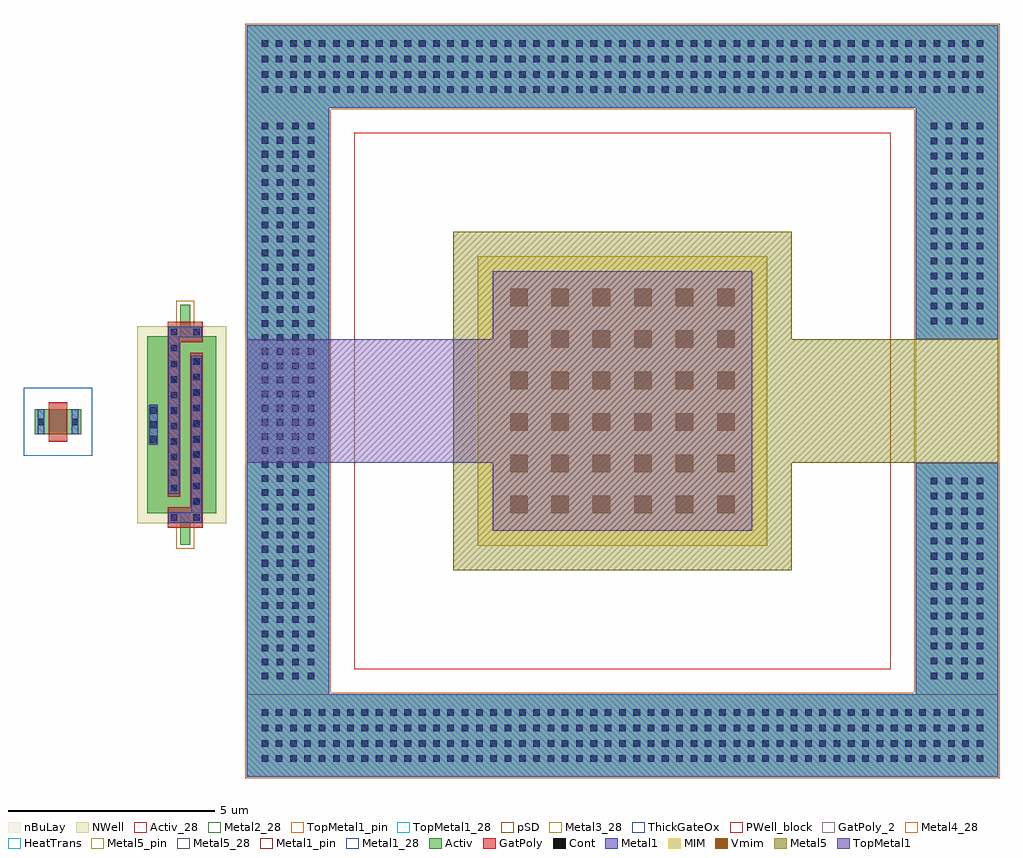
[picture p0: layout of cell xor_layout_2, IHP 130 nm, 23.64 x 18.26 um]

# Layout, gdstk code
import gdstk
lib = gdstk.Library(unit=1e-6, precision=1e-09)
def R(c, l, rs):  # rectangles x0, y0, x1, y1
    for r in rs: c.add(gdstk.rectangle(r[:2], r[2:], *l))
def A(c, l, x, y, w, h, nx, ny, dx, dy):  # array of equal rectangles
    R(c, l, [(x+i*dx, y+j*dy, x+i*dx+w, y+j*dy+h) for i in range(nx) for j in range(ny)])
def P(c, l, *ps):  # polygons
    for p in ps: c.add(gdstk.Polygon(p, *l))
Activ = (1, 0)
Activ_28 = (1, 28)
GatPoly = (5, 0)
GatPoly_2 = (5, 2)
Cont = (6, 0)
Metal1 = (8, 0)
Metal1_pin = (8, 2)
Metal1_28 = (8, 28)
Metal2_28 = (10, 28)
pSD = (14, 0)
Metal3_28 = (30, 28)
NWell = (31, 0)
nBuLay = (32, 0)
MIM = (36, 0)
ThickGateOx = (44, 0)
PWell_block = (46, 21)
Metal4_28 = (50, 28)
HeatTrans = (51, 0)
Metal5 = (67, 0)
Metal5_pin = (67, 2)
Metal5_28 = (67, 28)
TopMetal1 = (126, 0)
TopMetal1_pin = (126, 2)
TopMetal1_28 = (126, 28)
Vmim = (129, 0)

svaricap = lib.new_cell('SVaricap')
R(svaricap, Activ, [(1.035,-0.52,1.275,0.24), (0.24,0.24,1.91,4.53), (1.035,4.53,1.275,5.29)])
R(svaricap, GatPoly, [(0.73,-0.11,1.58,0.39), (1.28,0.39,1.58,4.13), (0.73,0.64,1.03,4.38), (0.73,4.38,1.58,4.88)])
A(svaricap, Cont, 1.35, 0.45, 0.16, 0.16, 1, 3, 0, 0.375)
A(svaricap, Cont, 0.8, 0.77, 0.16, 0.16, 1, 3, 0, 0.375)
A(svaricap, Cont, 1.35, 1.58, 0.16, 0.16, 1, 3, 0, 0.375)
A(svaricap, Cont, 0.8, 1.9, 0.16, 0.16, 1, 3, 0, 0.375)
A(svaricap, Cont, 0.31, 1.955, 0.16, 0.16, 1, 3, 0, 0.35)
A(svaricap, Cont, 1.35, 2.71, 0.16, 0.16, 1, 3, 0, 0.375)
A(svaricap, Cont, 0.8, 3.03, 0.16, 0.16, 1, 3, 0, 0.375)
R(svaricap, Cont, [(0.8,0.06,0.96,0.22), (1.35,0.06,1.51,0.22), (1.35,3.84,1.51,4), (0.8,4.16,0.96,4.32), (0.8,4.55,0.96,4.71), (1.35,4.55,1.51,4.71)])
R(svaricap, Metal1, [(0.75,0.01,1.56,0.27), (1.3,0.27,1.56,0.4), (1.3,0.4,1.56,4.05), (0.75,0.72,1.01,4.37), (0.29,1.905,0.49,2.865), (0.75,4.37,1.01,4.5), (0.75,4.5,1.56,4.76)])
R(svaricap, Metal1_pin, [(0.75,0.01,1.56,0.27), (0.29,1.915,0.49,2.855), (0.75,4.5,1.56,4.76)])
R(svaricap, pSD, [(0.935,-0.62,1.375,0.14), (0.935,4.63,1.375,5.39)])
R(svaricap, NWell, [(0,0,2.15,4.77)])
R(svaricap, nBuLay, [(0.24,0.24,1.91,4.53)])
svaricap.add(gdstk.Label('SVaricap', (0.24,0.59), layer=63, texttype=0))

nmoshv = lib.new_cell('nmosHV')
R(nmoshv, Activ, [(0,0,0.3,0.3), (0,0,1.13,0.6), (0.83,0,1.13,0.3)])
R(nmoshv, GatPoly, [(0.34,-0.18,0.79,0.78)])
R(nmoshv, GatPoly_2, [(0.34,-0.18,0.79,0.78)])
R(nmoshv, Cont, [(0.07,0.22,0.23,0.38), (0.9,0.22,1.06,0.38)])
R(nmoshv, Metal1, [(0.07,0,0.23,0.6), (0.9,0,1.06,0.6)])
R(nmoshv, Metal1_pin, [(0.07,0,0.23,0.6), (0.9,0,1.06,0.6)])
R(nmoshv, ThickGateOx, [(-0.27,-0.52,1.4,1.12)])
R(nmoshv, HeatTrans, [(0.34,-0.18,0.79,0.78)])
nmoshv.add(gdstk.Label('nmosHV', (0.565,0.3), layer=63, texttype=0))
nmoshv.add(gdstk.Label('nmosHV', (0.565,0.3), layer=51, texttype=0))

rfcmim = lib.new_cell('rfcmim')
P(rfcmim, Activ, [(-5.6,-5.6),(-5.6,12.6),(12.6,12.6),(12.6,5),(10.6,5),(10.6,10.6),(-3.6,10.6),(-3.6,-3.6),(10.6,-3.6),(10.6,2),(12.6,2),(12.6,-5.6)])
R(rfcmim, Activ_28, [(-5.6,-5.6,12.6,12.6)])
A(rfcmim, Cont, -5.24, -5.24, 0.16, 0.16, 4, 2, 0.345, 0.37)
A(rfcmim, Cont, -3.855, -5.24, 0.16, 0.16, 4, 2, 0.345, 0.37)
A(rfcmim, Cont, -2.47, -5.24, 0.16, 0.16, 3, 2, 0.345, 0.37)
A(rfcmim, Cont, -1.43, -5.24, 0.16, 0.16, 4, 2, 0.345, 0.37)
A(rfcmim, Cont, -0.045, -5.24, 0.16, 0.16, 3, 2, 0.345, 0.37)
A(rfcmim, Cont, 0.995, -5.24, 0.16, 0.16, 4, 2, 0.345, 0.37)
A(rfcmim, Cont, 2.38, -5.24, 0.16, 0.16, 3, 2, 0.345, 0.37)
A(rfcmim, Cont, 3.42, -5.24, 0.16, 0.16, 4, 2, 0.345, 0.37)
A(rfcmim, Cont, 4.805, -5.24, 0.16, 0.16, 4, 2, 0.345, 0.37)
A(rfcmim, Cont, 6.19, -5.24, 0.16, 0.16, 3, 2, 0.345, 0.37)
A(rfcmim, Cont, 7.23, -5.24, 0.16, 0.16, 4, 2, 0.345, 0.37)
A(rfcmim, Cont, 8.615, -5.24, 0.16, 0.16, 3, 2, 0.345, 0.37)
A(rfcmim, Cont, 9.655, -5.24, 0.16, 0.16, 4, 2, 0.345, 0.37)
A(rfcmim, Cont, 11.04, -5.24, 0.16, 0.16, 3, 2, 0.345, 0.37)
A(rfcmim, Cont, 12.08, -4.87, 0.16, 0.16, 1, 3, 0, 0.375)
A(rfcmim, Cont, -5.24, -4.495, 0.16, 0.16, 4, 2, 0.345, 0.375)
A(rfcmim, Cont, -3.855, -4.495, 0.16, 0.16, 4, 2, 0.345, 0.375)
A(rfcmim, Cont, -2.47, -4.495, 0.16, 0.16, 3, 2, 0.345, 0.375)
A(rfcmim, Cont, -1.43, -4.495, 0.16, 0.16, 4, 2, 0.345, 0.375)
A(rfcmim, Cont, -0.045, -4.495, 0.16, 0.16, 3, 2, 0.345, 0.375)
A(rfcmim, Cont, 0.995, -4.495, 0.16, 0.16, 4, 2, 0.345, 0.375)
A(rfcmim, Cont, 2.38, -4.495, 0.16, 0.16, 3, 2, 0.345, 0.375)
A(rfcmim, Cont, 3.42, -4.495, 0.16, 0.16, 4, 2, 0.345, 0.375)
A(rfcmim, Cont, 4.805, -4.495, 0.16, 0.16, 4, 2, 0.345, 0.375)
A(rfcmim, Cont, 6.19, -4.495, 0.16, 0.16, 3, 2, 0.345, 0.375)
A(rfcmim, Cont, 7.23, -4.495, 0.16, 0.16, 4, 2, 0.345, 0.375)
A(rfcmim, Cont, 8.615, -4.495, 0.16, 0.16, 3, 2, 0.345, 0.375)
A(rfcmim, Cont, 9.655, -4.495, 0.16, 0.16, 4, 2, 0.345, 0.375)
A(rfcmim, Cont, 11.04, -4.495, 0.16, 0.16, 3, 2, 0.345, 0.375)
A(rfcmim, Cont, -5.24, -3.24, 0.16, 0.16, 1, 4, 0, 0.34)
A(rfcmim, Cont, -4.87, -3.24, 0.16, 0.16, 3, 4, 0.375, 0.34)
A(rfcmim, Cont, 11.33, -3.24, 0.16, 0.16, 3, 2, 0.375, 0.36)
A(rfcmim, Cont, 11.33, -2.515, 0.16, 0.16, 3, 2, 0.375, 0.36)
A(rfcmim, Cont, 10.96, -2.155, 0.16, 0.16, 1, 3, 0, 0.365)
A(rfcmim, Cont, -5.24, -1.875, 0.16, 0.16, 1, 3, 0, 0.34)
A(rfcmim, Cont, -4.87, -1.875, 0.16, 0.16, 3, 3, 0.375, 0.34)
A(rfcmim, Cont, 11.33, -1.79, 0.16, 0.16, 3, 2, 0.375, 0.365)
A(rfcmim, Cont, 11.33, -1.065, 0.16, 0.16, 3, 2, 0.375, 0.365)
A(rfcmim, Cont, -5.24, -0.85, 0.16, 0.16, 1, 3, 0, 0.34)
A(rfcmim, Cont, -4.87, -0.85, 0.16, 0.16, 3, 3, 0.375, 0.34)
A(rfcmim, Cont, 10.96, -0.34, 0.16, 0.16, 1, 3, 0, 0.365)
A(rfcmim, Cont, 11.33, -0.34, 0.16, 0.16, 3, 3, 0.375, 0.365)
A(rfcmim, Cont, -5.24, 0.175, 0.16, 0.16, 1, 3, 0, 0.34)
A(rfcmim, Cont, -4.87, 0.175, 0.16, 0.16, 3, 3, 0.375, 0.34)
A(rfcmim, Cont, 10.96, 0.75, 0.16, 0.16, 1, 3, 0, 0.365)
A(rfcmim, Cont, 11.33, 0.75, 0.16, 0.16, 3, 3, 0.375, 0.365)
A(rfcmim, Cont, -5.24, 1.2, 0.16, 0.16, 1, 4, 0, 0.34)
A(rfcmim, Cont, -4.87, 1.2, 0.16, 0.16, 3, 4, 0.375, 0.34)
A(rfcmim, Cont, -5.24, 2.565, 0.16, 0.16, 1, 3, 0, 0.34)
A(rfcmim, Cont, -4.87, 2.565, 0.16, 0.16, 3, 3, 0.375, 0.34)
A(rfcmim, Cont, -5.24, 3.59, 0.16, 0.16, 1, 3, 0, 0.34)
A(rfcmim, Cont, -4.87, 3.59, 0.16, 0.16, 3, 3, 0.375, 0.34)
A(rfcmim, Cont, -5.24, 4.615, 0.16, 0.16, 1, 3, 0, 0.34)
A(rfcmim, Cont, -4.87, 4.615, 0.16, 0.16, 3, 3, 0.375, 0.34)
A(rfcmim, Cont, 11.33, 5.36, 0.16, 0.16, 3, 2, 0.375, 0.36)
A(rfcmim, Cont, -5.24, 5.64, 0.16, 0.16, 1, 4, 0, 0.34)
A(rfcmim, Cont, -4.87, 5.64, 0.16, 0.16, 3, 4, 0.375, 0.34)
A(rfcmim, Cont, 11.33, 6.085, 0.16, 0.16, 3, 2, 0.375, 0.36)
A(rfcmim, Cont, 10.96, 6.445, 0.16, 0.16, 1, 3, 0, 0.365)
A(rfcmim, Cont, 11.33, 6.81, 0.16, 0.16, 3, 2, 0.375, 0.365)
A(rfcmim, Cont, -5.24, 7.005, 0.16, 0.16, 1, 3, 0, 0.34)
A(rfcmim, Cont, -4.87, 7.005, 0.16, 0.16, 3, 3, 0.375, 0.34)
A(rfcmim, Cont, 11.33, 7.535, 0.16, 0.16, 3, 2, 0.375, 0.365)
A(rfcmim, Cont, -5.24, 8.03, 0.16, 0.16, 1, 3, 0, 0.34)
A(rfcmim, Cont, -4.87, 8.03, 0.16, 0.16, 3, 3, 0.375, 0.34)
A(rfcmim, Cont, 10.96, 8.26, 0.16, 0.16, 1, 3, 0, 0.365)
A(rfcmim, Cont, 11.33, 8.26, 0.16, 0.16, 3, 3, 0.375, 0.365)
A(rfcmim, Cont, -5.24, 9.055, 0.16, 0.16, 1, 3, 0, 0.34)
A(rfcmim, Cont, -4.87, 9.055, 0.16, 0.16, 3, 3, 0.375, 0.34)
A(rfcmim, Cont, 10.96, 9.35, 0.16, 0.16, 1, 3, 0, 0.365)
A(rfcmim, Cont, 11.33, 9.35, 0.16, 0.16, 3, 3, 0.375, 0.365)
A(rfcmim, Cont, -4.87, 10.08, 0.16, 0.16, 3, 1, 0.375, 0)
A(rfcmim, Cont, -5.24, 10.96, 0.16, 0.16, 4, 2, 0.345, 0.37)
A(rfcmim, Cont, -3.855, 10.96, 0.16, 0.16, 4, 2, 0.345, 0.37)
A(rfcmim, Cont, -2.47, 10.96, 0.16, 0.16, 3, 2, 0.345, 0.37)
A(rfcmim, Cont, -1.43, 10.96, 0.16, 0.16, 4, 2, 0.345, 0.37)
A(rfcmim, Cont, -0.045, 10.96, 0.16, 0.16, 3, 2, 0.345, 0.37)
A(rfcmim, Cont, 0.995, 10.96, 0.16, 0.16, 4, 2, 0.345, 0.37)
A(rfcmim, Cont, 2.38, 10.96, 0.16, 0.16, 3, 2, 0.345, 0.37)
A(rfcmim, Cont, 3.42, 10.96, 0.16, 0.16, 4, 2, 0.345, 0.37)
A(rfcmim, Cont, 4.805, 10.96, 0.16, 0.16, 4, 2, 0.345, 0.37)
A(rfcmim, Cont, 6.19, 10.96, 0.16, 0.16, 3, 2, 0.345, 0.37)
A(rfcmim, Cont, 7.23, 10.96, 0.16, 0.16, 4, 2, 0.345, 0.37)
A(rfcmim, Cont, 8.615, 10.96, 0.16, 0.16, 3, 2, 0.345, 0.37)
A(rfcmim, Cont, 9.655, 10.96, 0.16, 0.16, 4, 2, 0.345, 0.37)
A(rfcmim, Cont, 11.04, 10.96, 0.16, 0.16, 3, 2, 0.345, 0.37)
A(rfcmim, Cont, 12.08, 11.33, 0.16, 0.16, 1, 3, 0, 0.375)
A(rfcmim, Cont, -5.24, 11.705, 0.16, 0.16, 4, 2, 0.345, 0.375)
A(rfcmim, Cont, -3.855, 11.705, 0.16, 0.16, 4, 2, 0.345, 0.375)
A(rfcmim, Cont, -2.47, 11.705, 0.16, 0.16, 3, 2, 0.345, 0.375)
A(rfcmim, Cont, -1.43, 11.705, 0.16, 0.16, 4, 2, 0.345, 0.375)
A(rfcmim, Cont, -0.045, 11.705, 0.16, 0.16, 3, 2, 0.345, 0.375)
A(rfcmim, Cont, 0.995, 11.705, 0.16, 0.16, 4, 2, 0.345, 0.375)
A(rfcmim, Cont, 2.38, 11.705, 0.16, 0.16, 3, 2, 0.345, 0.375)
A(rfcmim, Cont, 3.42, 11.705, 0.16, 0.16, 4, 2, 0.345, 0.375)
A(rfcmim, Cont, 4.805, 11.705, 0.16, 0.16, 4, 2, 0.345, 0.375)
A(rfcmim, Cont, 6.19, 11.705, 0.16, 0.16, 3, 2, 0.345, 0.375)
A(rfcmim, Cont, 7.23, 11.705, 0.16, 0.16, 4, 2, 0.345, 0.375)
A(rfcmim, Cont, 8.615, 11.705, 0.16, 0.16, 3, 2, 0.345, 0.375)
A(rfcmim, Cont, 9.655, 11.705, 0.16, 0.16, 4, 2, 0.345, 0.375)
A(rfcmim, Cont, 11.04, 11.705, 0.16, 0.16, 3, 2, 0.345, 0.375)
R(rfcmim, Cont, [(12.08,-5.24,12.24,-5.08), (10.96,-3.24,11.12,-3.08), (10.96,-2.88,11.12,-2.72), (10.96,-2.515,11.12,-2.355), (10.96,-1.065,11.12,-0.905), (10.96,-0.7,11.12,-0.54), (10.96,5.36,11.12,5.52), (10.96,5.72,11.12,5.88), (10.96,6.085,11.12,6.245), (10.96,7.535,11.12,7.695), (10.96,7.9,11.12,8.06), (-5.24,10.08,-5.08,10.24), (12.08,10.96,12.24,11.12)])
P(rfcmim, Metal1, [(-5.6,-5.6),(-5.6,12.6),(12.6,12.6),(12.6,5),(10.6,5),(10.6,10.6),(-3.6,10.6),(-3.6,-3.6),(10.6,-3.6),(10.6,2),(12.6,2),(12.6,-5.6)])
R(rfcmim, Metal1_pin, [(-5.6,-5.6,12.6,-3.6), (-5.6,-5.6,12.6,-3.6)])
R(rfcmim, Metal1_28, [(-5.6,-5.6,12.6,12.6)])
R(rfcmim, Metal2_28, [(-5.6,-5.6,12.6,12.6)])
P(rfcmim, pSD, [(-5.63,-5.63),(-5.63,10.57),(-3.57,10.57),(-3.57,-3.57),(10.57,-3.57),(10.57,10.57),(-5.63,10.57),(-5.63,12.63),(12.63,12.63),(12.63,-5.63)])
R(rfcmim, Metal3_28, [(-5.6,-5.6,12.6,12.6)])
R(rfcmim, MIM, [(0,0,7,7)])
R(rfcmim, PWell_block, [(-3,-3,10,10)])
R(rfcmim, Metal4_28, [(-5.6,-5.6,12.6,12.6)])
R(rfcmim, Metal5, [(-0.6,-0.6,7.6,7.6), (-0.6,-0.6,7.6,7.6), (7.6,2,12.6,5)])
R(rfcmim, Metal5_pin, [(10.6,2,12.6,5), (10.6,2,12.6,5)])
R(rfcmim, Metal5_28, [(-5.6,-5.6,12.6,12.6)])
R(rfcmim, TopMetal1, [(0.36,0.36,6.64,6.64), (-5.6,2,0.36,5)])
R(rfcmim, TopMetal1_pin, [(-5.6,2,-3.6,5), (-5.6,2,-3.6,5)])
R(rfcmim, TopMetal1_28, [(-5.6,-5.6,12.6,12.6)])
A(rfcmim, Vmim, 1.78, 0.78, 0.42, 0.42, 5, 2, 1.005, 1)
A(rfcmim, Vmim, 0.78, 1.78, 0.42, 0.42, 1, 5, 0, 1.005)
A(rfcmim, Vmim, 1.78, 2.785, 0.42, 0.42, 5, 4, 1.005, 1.005)
R(rfcmim, Vmim, [(0.78,0.78,1.2,1.2)])
rfcmim.add(gdstk.Label('PLUS', (-4.6,3.5), layer=63, texttype=0))
rfcmim.add(gdstk.Label('MINUS', (11.6,3.5), layer=63, texttype=0))
rfcmim.add(gdstk.Label('TIE', (3.5,-4.6), layer=63, texttype=0))
rfcmim.add(gdstk.Label('rfcmim', (3.5,9), layer=63, texttype=0))
rfcmim.add(gdstk.Label('C=74.8f', (3.5,-2), layer=63, texttype=0))

xor_layout_2 = lib.new_cell('xor_layout_2')
xor_layout_2.add(gdstk.Reference(svaricap, (1.695,-0.61)))
xor_layout_2.add(gdstk.Reference(nmoshv, (-0.795,1.545)))
xor_layout_2.add(gdstk.Reference(rfcmim, (9.94,-1.15)))

lib.write_gds('xor_layout_2.gds')
